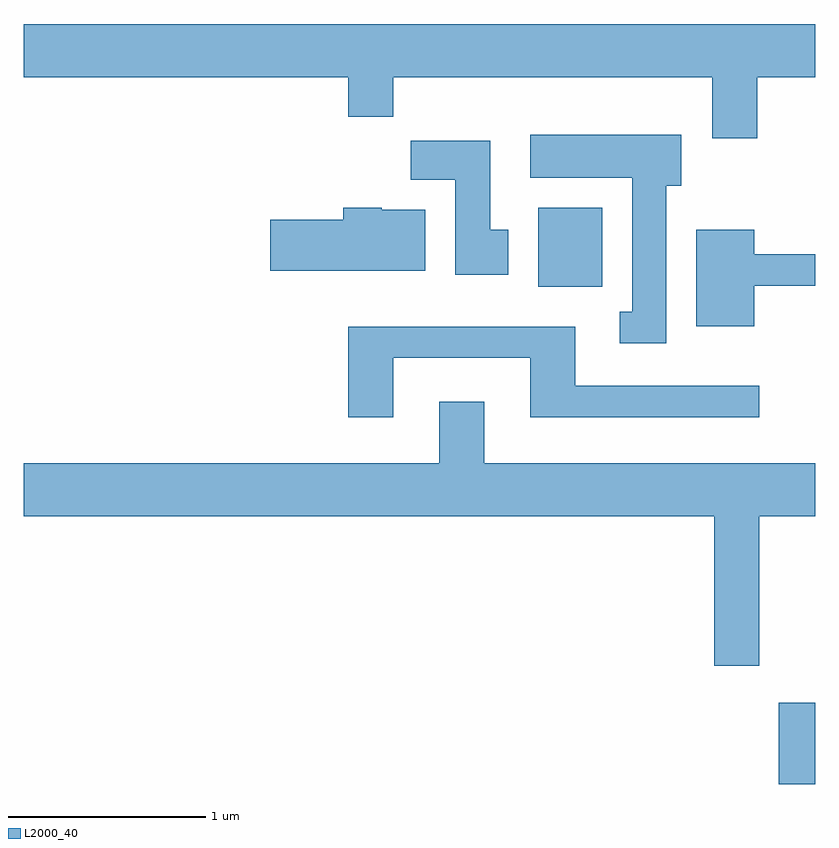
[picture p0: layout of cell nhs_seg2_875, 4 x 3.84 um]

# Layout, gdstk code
import gdstk
lib = gdstk.Library(unit=1e-6, precision=1e-09)
def R(c, l, rs):  # rectangles x0, y0, x1, y1
    for r in rs: c.add(gdstk.rectangle(r[:2], r[2:], *l))
def P(c, l, *ps):  # polygons
    for p in ps: c.add(gdstk.Polygon(p, *l))
L2000_40 = (2000, 40)

nhs_seg2_875 = lib.new_cell('nhs_seg2_875')
R(nhs_seg2_875, L2000_40, [(213.426,1095.802,213.611,1096.214), (212.211,1098.316,212.534,1098.714)])
P(nhs_seg2_875, L2000_40, [(213.319,1099.376),(213.611,1099.376),(213.611,1099.644),(209.611,1099.644),(209.611,1099.376),(211.251,1099.376),(211.251,1099.176),(211.479,1099.176),(211.479,1099.376),(213.091,1099.376),(213.091,1099.066),(213.319,1099.066)],
  [(212.859,1098.826),(212.934,1098.826),(212.934,1099.084),(212.171,1099.084),(212.171,1098.866),(212.686,1098.866),(212.686,1098.189),(212.623,1098.189),(212.623,1098.031),(212.859,1098.031)],
  [(212.059,1098.604),(211.969,1098.604),(211.969,1099.054),(211.566,1099.054),(211.566,1098.856),(211.791,1098.856),(211.791,1098.376),(212.059,1098.376)],
  [(211.639,1098.704),(211.42,1098.704),(211.42,1098.714),(211.226,1098.714),(211.226,1098.654),(210.856,1098.654),(210.856,1098.396),(211.639,1098.396)],
  [(213.304,1098.321),(213.611,1098.321),(213.611,1098.479),(213.304,1098.479),(213.304,1098.604),(213.011,1098.604),(213.011,1098.116),(213.304,1098.116)],
  [(211.479,1097.956),(212.171,1097.956),(212.171,1097.656),(213.328,1097.656),(213.328,1097.814),(212.399,1097.814),(212.399,1098.114),(211.251,1098.114),(211.251,1097.656),(211.479,1097.656)],
  [(213.329,1097.156),(213.611,1097.156),(213.611,1097.424),(211.939,1097.424),(211.939,1097.734),(211.711,1097.734),(211.711,1097.424),(209.611,1097.424),(209.611,1097.156),(213.101,1097.156),(213.101,1096.401),(213.329,1096.401)])

lib.write_gds('nhs_seg2_875.gds')
